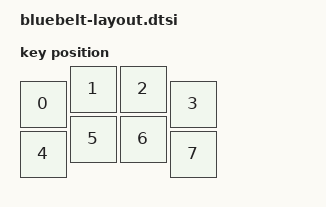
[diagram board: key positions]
#include <physical_layouts.dtsi>    

/ {
    bluebelt_physical_layout: bluebelt_physical_layout {
        compatible = "zmk,physical-layout";
        display-name = "BlueBelt";
        transform = <&transform0>;
        kscan = <&kscan0>;
        keys  //                     w   h    x    y     rot    rx    ry
            = <&key_physical_attrs 100 100    0   30       0     0     0>
            , <&key_physical_attrs 100 100  100    0       0     0     0>
            , <&key_physical_attrs 100 100  200    0       0     0     0>
            , <&key_physical_attrs 100 100  300   30       0     0     0>
            , <&key_physical_attrs 100 100    0  130       0     0     0>
            , <&key_physical_attrs 100 100  100  100       0     0     0>
            , <&key_physical_attrs 100 100  200  100       0     0     0>
            , <&key_physical_attrs 100 100  300  130       0     0     0>
            ;
    };
};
